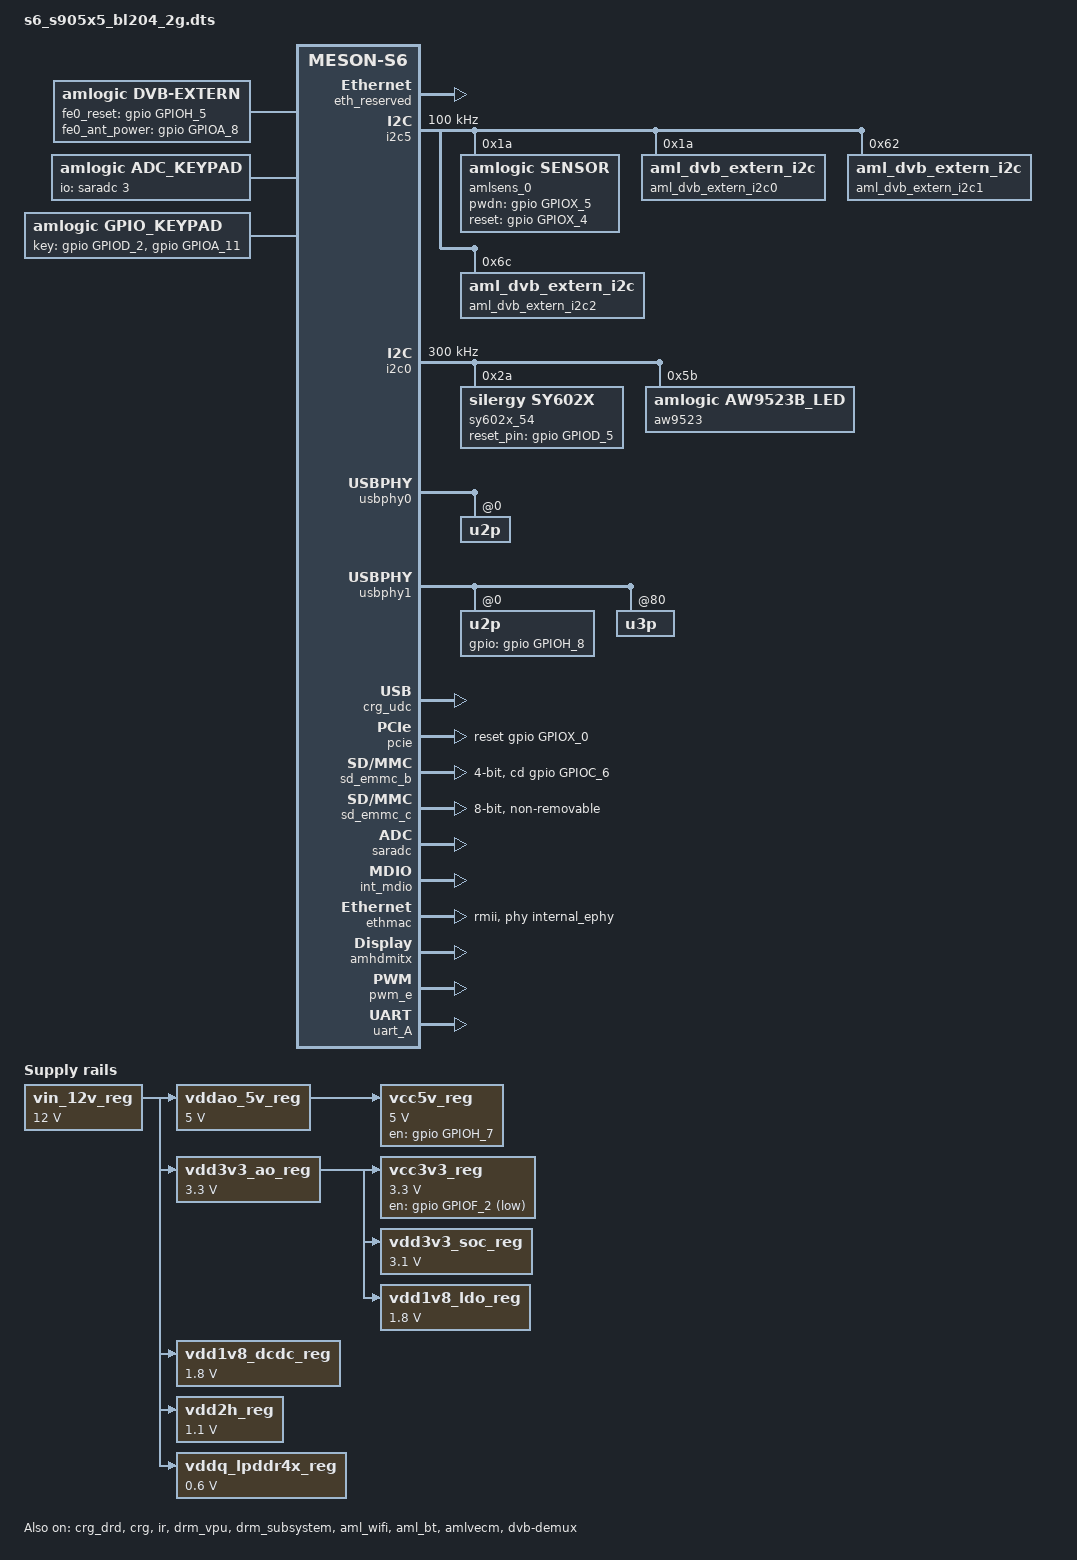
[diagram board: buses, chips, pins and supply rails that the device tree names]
// SPDX-License-Identifier: (GPL-2.0+ OR MIT)
/*
 * Copyright (c) 2019 Amlogic, Inc. All rights reserved.
 */

/dts-v1/;

#include "meson-s6.dtsi"
#include "hdr10plus.dtsi"
#include "mesons6_drm.dtsi"
#include "mesons6_audio.dtsi"
#include "firmware_ab.dtsi"
/ {
	amlogic-dt-id = "s6_s905x5_bl204-2g";
	compatible = "s6_s905x5_bl204-2g";
	interrupt-parent = <&gic>;
	#address-cells = <2>;
	#size-cells = <2>;

	aliases {
		serial0 = &uart_B;
		serial1 = &uart_A;
		serial2 = &uart_C;
		i2c0 = &i2c0;
		i2c1 = &i2c1;
		i2c2 = &i2c2;
		i2c3 = &i2c3;
		i2c4 = &i2c4;
		i2c5 = &i2c5;
		spi0 = &spifc;
		spi1 = &spicc0;
		tsensor0 = &p_tsensor;
		tsensor1 = &c_tsensor;
	};

	memory@0 {
		device_type = "memory";
		linux,usable-memory = <0x0 0x0 0x0 0x80000000>;
	};

	reserved-memory {
		#address-cells = <2>;
		#size-cells = <2>;
		ranges;

		ramdump_bl33z@0 {
			reg = <0x0 0x0 0x0 0x1800000>; /* 0 ~ 24M */
			status = "disabled";
		};

		/* global autoconfigured region for contiguous allocations */
		ramoops@6b00000 {
			compatible = "ramoops";
			reg = <0x0 0x06b00000 0x0 0x00080000>;/* addr set in uboot */
			record-size = <0x30000>;
			console-size = <0x40000>;
			ftrace-size = <0x0>;
			pmsg-size = <0x10000>;
		};

		debug_reserved:linux,iotrace {
			compatible = "amlogic, iotrace";
			reg = <0x0 0x04f00000 0x0 0x00100000>;
			io-size = <0x1b000>;
			sched-size = <0x2000>;
			irq-size = <0x1000>;
			smc-size = <0x1000>;
			misc-size = <0x1000>;
		};

		dmc_reserved:linux,dmc_monitor {
			compatible = "amlogic,dmc_monitor-reserved";
			reg = <0x0 0x0 0x0 0x80000>;
		};

		secmon_reserved:linux,secmon {
			compatible = "shared-dma-pool";
			/*reusable;*/
			no-map;
			alignment = <0x0 0x100000>;
			reg = <0x0 0x05000000 0x0 0x1b00000>;
		};

		logo_reserved:linux,meson-fb {
			compatible = "amlogic, meson-fb";
			alignment = <0x0 0x400000>;
			reg = <0x0 0x7f800000 0x0 0x800000>;
		};

		dsp_fw_reserved:linux,dsp_fw {
			compatible = "amlogic, dsp";
			size = <0x0 0x800000>;
			reg = <0x0 0x30000000 0x0 0x800000>;
		};

		ion_cma_reserved:linux,ion-dev {
			compatible = "shared-dma-pool";
			reusable;
			size = <0x0>;
			alignment = <0x0 0x400000>;
		};
		ion_fb_reserved:linux,ion-fb {
			compatible = "shared-dma-pool";
			reusable;
			size = <0x0 0x0>;
			alignment = <0x0 0x400000>;
		};
		dmaheap_cma_reserved:heap-gfx {
			compatible = "shared-dma-pool";
			reusable;
			/* 1080p STB android16 size 88M */
			size = <0x0 0x5800000>;
			alignment = <0x0 0x400000>;
		};
		dmaheap_fb_reserved:heap-fb {
			compatible = "shared-dma-pool";
			reusable;
			/* 1080p STB android16 size 56M */
			size = <0x0 0x3800000>;
			alignment = <0x0 0x400000>;
		};
		dmaheap_secure_reserved:heap-secure {
			compatible = "amlogic, heap-secure-mem";
			no-map;
			/* advice heap-secure size 208M */
			size = <0x0 0x0>;
			alignment = <0x0 0x400000>;
		};
		mali_protected: mali_protected@c0000000 {
			compatible = "mali-reserved";
			no-map;
			/* 16M with high version than valhall-r41p0,
			 * 64M with low version than valhall-r41p0
			 */
			size = <0x0 0x0>;
			alignment = <0x0 0x400000>;
		};
		/*di CMA pool */
		di_cma_reserved:linux,di_cma {
			compatible = "shared-dma-pool";
			reusable;
			/* buffer_size = 3621952(yuv422 8bit)
			 *  | 4736064(yuv422 10bit)
			 *  | 4074560(yuv422 10bit full pack mode)
			 * 10x3621952=34.6M(0x23) support 8bit
			 * 10x4736064=45.2M(0x2e) support 12bit
			 * 10x4074560=40M(0x28) support 10bit
			 */
			//size = <0x0 0x0B000000>;
			//size = <0x0 0x0>;
			alignment = <0x0 0x400000>;
		};

		/*  POST PROCESS MANAGER */
		ppmgr_reserved:linux,ppmgr {
			compatible = "shared-dma-pool";
			size = <0x0 0x0>;
		};

		codec_mm_cma:linux,codec_mm_cma {
			compatible = "shared-dma-pool";
			reusable;
			/*
			 * Scenario: CTS P010 case
			 * Total size: 548M
			 * Note:
			 *  setting to 496M if scatter_alloc_mode is 0.
			 *  setting to 444M if scatter_alloc_mode is 1.
			 */
			size = <0x0 0x1bc00000>;
			alignment = <0x0 0x400000>;
			linux,contiguous-region;
		};

		/* codec shared reserved */
		codec_mm_reserved:linux,codec_mm_reserved {
			compatible = "amlogic, codec-mm-reserved";
			size = <0x0 0x0>;
			alignment = <0x0 0x100000>;
			//no-map;
		};

		codec_mm_reserved_ext:linux,codec_mm_reserved_ext {
			compatible = "amlogic, codec-mm-reserved_ext";
			size = <0x00000000 0x00000000>;
			alignment = <0x0 0x100000>;
		};

		secure_vdec_reserved:linux,secure_vdec_reserved {
			compatible = "amlogic, secure-vdec-reserved";
			no-map;
			size = <0x0 0x1000000>;
			alignment = <0x0 0x100000>;
		};

		/*  vdin0 CMA pool */
		//vdin0_cma_reserved:linux,vdin0_cma {
		//	compatible = "shared-dma-pool";
		//	reusable;
			/* up to 1920x1080 yuv422 8bit and 5 buffers
			 * 1920x1080x2x5 = 20 M
			 */
		//	size = <0x0 0x01400000>;
		//	alignment = <0x0 0x400000>;
		//};
		/*  vdin1 CMA pool */
		vdin1_cma_reserved:linux,vdin1_cma {
			compatible = "shared-dma-pool";
			reusable;
			/* up to 720p yuv420 8bit and 4 buffers
			 * 1280x720x1.5x4 = 8 M
			 */
			size = <0x0 0x00800000>;
			alignment = <0x0 0x400000>;
		};
		/* global autoconfigured region for contiguous allocations */
		linux,cma {
			compatible = "shared-dma-pool";
			reusable;
			size = <0x0 0x800000>;
			alignment = <0x0 0x400000>;
			linux,cma-default;
		};

		pcie_dma_ops_mm:linux,pcie_dma_ops {
			compatible = "shared-dma-pool";
			status = "okay";
			reusable;
			size = <0x0 0x2000000>;
			swiotlb-size = <0x0 0x1c00000>;
			atomic-size = <0x0 0x40000>;
			alignment = <0x0 0x400000>;
		};

		eth_reserved:linux,eth {
			compatible = "shared-dma-pool";
			no-map;
			reg = <0x0 0x14000000 0x0 0x2400>;	/* 9 KBytes */
		};
	};

/* Audio Related start */
	auge_sound {
		compatible = "amlogic, auge-sound-card";
		//spk_mute-gpios = <&gpio GPIOH_5 GPIO_ACTIVE_LOW>;
		/*gpio high is enable spk,control by "SPK mute"*/
		aml-audio-card,name = "AML-AUGESOUND";
		aml-audio-card,dai-link@0 {
			format = "dsp_b";
			mclk-fs = <512>;
			//continuous-clock;
			//bitclock-inversion;
			//frame-inversion;
			/* master mode */
			bitclock-master = <&tdma>;
			frame-master = <&tdma>;
			/* slave mode */
			/*
			 * bitclock-master = <&tdmacodec>;
			 * frame-master = <&tdmacodec>;
			 */
			suffix-name = "alsaPORT-pcm";
			tdmacpu: cpu {
				sound-dai = <&tdma>;
				dai-tdm-slot-tx-mask =
							<1>;
				dai-tdm-slot-rx-mask =
							<1>;
				dai-tdm-slot-num = <2>;
				dai-tdm-slot-width = <16>;
				system-clock-frequency = <256000>;
			};
			tdmacodec: codec {
				sound-dai = <&dummy_codec>;
			};
		};

		aml-audio-card,dai-link@1 {
			format = "i2s";//"dsp_a";
			mclk-fs = <256>;
			continuous-clock;
			//bitclock-inversion;
			//frame-inversion;
			/* master mode */
			bitclock-master = <&tdmb>;
			frame-master = <&tdmb>;
			/* slave mode */
			//bitclock-master = <&tdmbcodec>;
			//frame-master = <&tdmbcodec>;
			/* suffix-name, sync with android audio hal
			 * what's the dai link used for
			 */
			suffix-name = "alsaPORT-i2s2hdmi";
			cpu {
				sound-dai = <&tdmb>;
				dai-tdm-slot-tx-mask = <1 1>;
				dai-tdm-slot-rx-mask = <1 1>;
				dai-tdm-slot-num = <2>;
				/*
				 * dai-tdm-slot-tx-mask =
				 *	<1 1 1 1 1 1 1 1>;
				 * dai-tdm-slot-rx-mask =
				 *	<1 1 1 1 1 1 1 1>;
				 * dai-tdm-slot-num = <8>;
				 */
				dai-tdm-slot-width = <32>;
				system-clock-frequency = <12288000>;
			};
			tdmbcodec: codec {
				sound-dai = <&dummy_codec>;
			};
		};

		aml-audio-card,dai-link@2 {
			format = "i2s";
			mclk-fs = <256>;
			//continuous-clock;
			//bitclock-inversion;
			//frame-inversion;
			/* master mode */
			bitclock-master = <&tdmc>;
			frame-master = <&tdmc>;
			/* slave mode */
			//bitclock-master = <&tdmccodec>;
			//frame-master = <&tdmccodec>;
			/* suffix-name, sync with android audio hal used for */
			suffix-name = "alsaPORT-i2s";
			cpu {
				sound-dai = <&tdmc>;
				dai-tdm-slot-tx-mask = <1 1>;
				dai-tdm-slot-rx-mask = <1 1>;
				dai-tdm-slot-num = <2>;
				dai-tdm-slot-width = <32>;
				system-clock-frequency = <12288000>;
			};
			tdmccodec: codec {
				prefix-names = "AMP";
				sound-dai = <&sy602x_54>;
			};
		};

		aml-audio-card,dai-link@3 {
			mclk-fs = <64>;
			/* suffix-name, sync with android audio hal
			 * what's the dai link used for
			 */
			suffix-name = "alsaPORT-pdm-builtinmic";
			cpu {
				sound-dai = <&pdma>;
			};
			codec {
				sound-dai = <&dummy_codec>;
			};
		};

		aml-audio-card,dai-link@4 {
			mclk-fs = <128>;
			continuous-clock;
			/* suffix-name, sync with android audio hal used for */
			suffix-name = "alsaPORT-spdif";
			cpu {
				sound-dai = <&spdifa>;
				system-clock-frequency = <6144000>;
			};
			codec {
				sound-dai = <&dummy_codec>;
			};
		};
		/* spdif_b to hdmi, only playback */
		aml-audio-card,dai-link@5 {
			mclk-fs = <128>;
			continuous-clock;
			/* suffix-name, sync with android audio hal
			 * what's the dai link used for
			 */
			suffix-name = "alsaPORT-spdifb";
			cpu {
				sound-dai = <&spdifb>;
				system-clock-frequency = <6144000>;
			};
			codec {
				sound-dai = <&dummy_codec>;
			};
		};

		aml-audio-card,dai-link@6 {
			mclk-fs = <256>;
			continuous-clock;
			suffix-name = "alsaPORT-loopback";
			cpu {
				sound-dai = <&loopbacka>;
				system-clock-frequency = <12288000>;
			};
			codec {
				sound-dai = <&dummy_codec>;
			};
		};

		/* aml-audio-card,dai-link@7 {
		 *	mclk-fs = <256>;
		 *	suffix-name = "alsaPORT-earc";
		 *	cpu {
		 *		sound-dai = <&earc>;
		 *		system-clock-frequency = <12288000>;
		 *	};
		 *	codec {
		 *		sound-dai = <&dummy_codec>;
		 *	};
		 *};
		 */
	};

	dvb-extern {
		compatible = "amlogic, dvb-extern";
		dev_name = "dvb-extern";
		status = "okay";

		//dvb hardware main power.
		//dvb_power_gpio = <&gpio GPIOZ_5 GPIO_ACTIVE_HIGH>;
		//dvb_power_value = <0>;
		//dvb_power_dir = <0>; //0: out, 1: in.

		fe_num = <2>;
		fe0_demod = "cxd2856";
		fe0_i2c_adap_id = <&i2c5>;
		fe0_demod_i2c_addr = <0xD8>;
		fe0_reset_value = <0>;
		fe0_reset_gpio = <&gpio GPIOH_5 GPIO_ACTIVE_HIGH>;
		fe0_reset_dir = <0>; //0: out, 1: in.
		fe0_ant_poweron_value = <1>;
		fe0_ant_power_gpio = <&gpio GPIOA_8 GPIO_ACTIVE_HIGH>;
		fe0_ts = <0>;
		fe0_ts_out_mode = <0>; //0: serial, 1: parallel.
		fe0_tuner0 = <0>; //T,C
		fe0_tuner1 = <1>; //S

		fe1_demod = "dummy";
		fe1_ts = <3>;

		tuner_num = <2>; //tuner number, multi tuner support
		tuner0_name = "r836_tuner";
		tuner0_i2c_addr = <0x1A>; //7bit
		tuner1_name = "av2018_tuner";
		tuner1_i2c_addr = <0xC4>; //8bit
	};

	dvb-demux {
		compatible = "amlogic sc2, dvb-demux";
		dev_name = "dvb-demux";
		status = "okay";

		reg = <0x0 0xfe000000 0x0 0x480000>;

		dmxdev_num = <0x11>;

		tsn_from = "demod";

		/*single demod setting */
		ts0_sid = <0x10>;
		ts0 = "serial-4wire"; /* tsinA: serial-4wire, serial-3wire */
		ts0_control = <0x0>;
		ts0_invert = <0>;

		ts1_sid = <0x11>;
		ts1 = "parallel";
		ts1_control = <0x0>;
		ts1_invert = <0>;

		ts2_sid = <0x12>;
		ts2 = "parallel";
		ts2_control = <0x0>;
		ts2_invert = <0>;

		ts3_sid = <0x7>;

		pinctrl-names = "s_ts0";
		pinctrl-0 = <&dvb_s_ts0_pins>;
	};

	multi-di {
		compatible = "amlogic, dim-s7d";
		/* s6 same as s7d */
		status = "okay";
		/* 0:use reserved; 1:use cma; 2:use cma as reserved */
		flag_cma = <4>;	//<1>;
		//memory-region = <&di_reserved>;
		//memory-region = <&di_cma_reserved>;
		interrupts = <0 203 4
				0 202 4>;
		interrupt-names = "pre_irq", "post_irq";
		clocks = <&clkc CLKID_VPU_CLKB>,
			<&clkc CLKID_VPU>;
		clock-names = "vpu_clkb",
			"vpu_mux";
		clock-range = <334 667>;
		/* buffer-size = <3621952>;(yuv422 8bit) */
		buffer-size = <4074560>;/*yuv422 fullpack*/
		/* reserve-iomap = "true"; */
		/* if enable nr10bit, set nr10bit-support to 1 */
		post-wr-support = <1>;
		nr10bit-support = <1>;
		nrds-enable = <1>;
		pps-enable = <1>;
		post_nub = <10>;
	};

	aml_dtv_demod {
		compatible = "amlogic, ddemod-s4";
		dev_name = "aml_dtv_demod";
		status = "disabled";
		/* diseqc_name = "sgm_41286"; */
		pinctrl-names="if_agc_pins", "if_agc2_pins";
		pinctrl-0=<&dtvdemod_if_agc_pins>;
		pinctrl-1=<&dtvdemod_if_agc2_pins>;
		/* pinctrl-2=<&diseqc_out>; */
		/* lnb_en-gpios = <&gpio GPIOZ_2 GPIO_ACTIVE_HIGH>; */
		/* lnb_sel-gpios = <&gpio GPIOZ_3 GPIO_ACTIVE_HIGH>; */
		/* interrupts = <GIC_SPI 142 IRQ_TYPE_EDGE_RISING>; */
		/* interrupt-names = "demod_isr"; */

		//power-domains = <&pwrdm PDID_S4_DEMOD>;
		/* clocks = <&clkc CLKID_DAC_CLK>; */
		/* clock-names = "vdac_clk_gate"; */

		reg = <0x0 0xfe350000 0x0 0x10000	/* dtv demod base */
			   0x0 0xfe000000 0x0 0x2000	/* div base */
			   0x0 0xff800000 0x0 0x1000	/* io_aobus_base */
			   0x0 0xffd01000 0x0 0x1000	/* reset */
			>;

		spectrum = <1>;
		cma_mem_size = <0>; //MB
	};
	adc_keypad {
		compatible = "amlogic, adc_keypad";
		status = "okay";
		key_name = "vol-", "vol+", "power";
		key_num = <3>;
		io-channels = <&saradc 3>;
		io-channel-names = "key-chan-3";
		key_chan = <SARADC_CH3 SARADC_CH3 SARADC_CH3>;
		key_code = <KEY_VOLUMEDOWN KEY_VOLUMEUP KEY_POWER>;
		key_val = <1600 1050 50>;	/* Unit: millivolt */
		key_tolerance = <70 70 70>;	/* Unit: millivolt */
	};

	gpio_keypad {
		compatible = "amlogic, gpio_keypad";
		status = "okay";
		scan_period = <20>;
		key_num = <2>;
		key_name = "bluetooth", "mute";
		key_code = <600 SW_MUTE_DEVICE>;
		key_type = <EV_KEY EV_SW>;
		key-gpios = <&gpio GPIOD_2 GPIO_ACTIVE_HIGH
			     &gpio GPIOA_11 GPIO_ACTIVE_HIGH>;
		/* 0:polling mode, 1:irq mode */
		detect_mode = <0>;
	};

	vin_12v_reg: fixed@vin_12v_reg {
		compatible = "regulator-fixed";
		regulator-name = "DC_IN";
		regulator-min-microvolt = <12000000>;
		regulator-max-microvolt = <12000000>;
		regulator-boot-on;
		regulator-always-on;
	};

	vddao_5v_reg: fixed@vddao_5v_reg {
		vin-supply = <&vin_12v_reg>;
		compatible = "regulator-fixed";
		regulator-name = "VDDAO_5V";
		regulator-min-microvolt = <5000000>;
		regulator-max-microvolt = <5000000>;
		regulator-boot-on;
		regulator-always-on;
	};

	vdd3v3_ao_reg: fixed@vdd3v3_ao_reg {
		vin-supply = <&vin_12v_reg>;
		compatible = "regulator-fixed";
		regulator-name = "VDDAO_3.3V";
		regulator-min-microvolt = <3300000>;
		regulator-max-microvolt = <3300000>;
		regulator-boot-on;
		regulator-always-on;
	};

	vdd1v8_dcdc_reg: fixed@vdd1v8_dcdc_reg {
		compatible = "regulator-fixed";
		vin-supply = <&vin_12v_reg>;
		regulator-name = "VDD1V8_DCDC";
		regulator-min-microvolt = <1800000>;
		regulator-max-microvolt = <1800000>;
		regulator-boot-on;
		regulator-always-on;
	};

	vdd2h_reg: fixed@vdd2h_reg {
		vin-supply = <&vin_12v_reg>;
		compatible = "regulator-fixed";
		regulator-name = "VDD2H";
		regulator-min-microvolt = <1100000>;
		regulator-max-microvolt = <1100000>;
		regulator-boot-on;
		regulator-always-on;
	};

	vddq_lpddr4x_reg: fixed@vddq_lpddr4x_reg {
		compatible = "regulator-fixed";
		vin-supply = <&vin_12v_reg>;
		regulator-name = "VDDQ_LPDDR4X";
		regulator-min-microvolt = <600000>;
		regulator-max-microvolt = <600000>;
		regulator-boot-on;
		regulator-always-on;
	};

	vcc5v_reg: fixed@vcc5v_reg {
		vin-supply = <&vddao_5v_reg>;
		compatible = "regulator-fixed";
		regulator-name = "VCC5V";
		regulator-min-microvolt = <5000000>;
		regulator-max-microvolt = <5000000>;
		pinctrl-names = "default";
		// GPIOH_7(Down) Output H/L= Enable/Disable VCC5V
		gpio = <&gpio GPIOH_7 GPIO_ACTIVE_HIGH>;
		enable-active-high;
		startup-delay-us = <7000>;
		regulator-boot-on;
		regulator-always-on;
	};

	vcc3v3_reg: fixed@vcc3v3_reg {
		vin-supply = <&vdd3v3_ao_reg>;
		compatible = "regulator-fixed";
		regulator-name = "VCC3V3";
		regulator-min-microvolt = <3300000>;
		regulator-max-microvolt = <3300000>;
		pinctrl-names = "default";
		// GPIOF_2(Down) Output L/H= Enable/Disable VCC3V3
		gpio = <&gpio GPIOF_2 GPIO_ACTIVE_HIGH>;
		startup-delay-us = <7000>;
		regulator-boot-on;
		regulator-always-on;
	};

	vdd3v3_soc_reg: fixed@vdd3v3_soc_reg {
		vin-supply = <&vdd3v3_ao_reg>;
		compatible = "regulator-fixed";
		regulator-name = "VDDIO_SOC";
		regulator-min-microvolt = <3100000>;
		regulator-max-microvolt = <3100000>;
		regulator-boot-on;
		regulator-always-on;
	};

	vdd1v8_ldo_reg: fixed@vdd1v8_ldo_reg {
		compatible = "regulator-fixed";
		vin-supply = <&vdd3v3_ao_reg>;
		regulator-name = "VDD1V8_LDO";
		regulator-min-microvolt = <1800000>;
		regulator-max-microvolt = <1800000>;
		regulator-boot-on;
		regulator-always-on;
	};
};

&i2c3 {
	status = "disabled";
	pinctrl-names="default";
	pinctrl-0=<&i2c3_pins2>;
	clock-frequency = <300000>;
};

&i2c4 {
	status = "disabled";
	pinctrl-names="default";
	pinctrl-0=<&i2c4_pins3>;
	clock-frequency = <300000>;
};

&i2c5 {
	status = "okay";
	pinctrl-names="default";
	pinctrl-0=<&i2c5_pins3>;
	clock-frequency = <100000>;

	amlsens_0: sensor0@1a {
		compatible = "amlogic, sensor";
		index = <1>;
		reg = <0x1a>;
		reg-addr-type = <2>;
		reg-data-type = <1>;

		// using cm_mclk_0 24M
		clocks = <&clkc CLKID_MCLK0>;
		clock-names = "mclk0";

		pwdn-gpios = <&gpio GPIOX_5 GPIO_ACTIVE_HIGH>;
		reset-gpios = <&gpio GPIOX_4 GPIO_ACTIVE_HIGH>;

		port {
			amlsens_0_ep: endpoint {
				data-lanes = <0 1 2 3>;
				link-frequencies = /bits/ 64 <222750000>;
			};
		};
	};
	aml_dvb_extern_i2c0: aml_dvb_extern_i2c@1a {
		compatible = "aml_dvb_extern_i2c";
		dev_name = "r836";
		reg = <0x1a>;
		status = "okay";
	};
	aml_dvb_extern_i2c1: aml_dvb_extern_i2c@62 {
		compatible = "aml_dvb_extern_i2c";
		dev_name = "av2018";
		reg = <0x62>;
		status = "okay";
	};
	aml_dvb_extern_i2c2: aml_dvb_extern_i2c@6c {
		compatible = "aml_dvb_extern_i2c";
		dev_name = "cxd2856";
		reg = <0x6c>;
		status = "okay";
	};
};

&i2c0 {
	status = "okay";
	pinctrl-names="default";
	pinctrl-0=<&i2c0_pins4>;
	clock-frequency = <300000>; /* default 100k */
	sy602x_54: sy602x_54@2a {
		compatible = "silergy,sy602x";
		#sound-dai-cells = <0>;
		reg = <0x2a>;
		status = "okay";
		reset_pin-gpios = <&gpio GPIOD_5 GPIO_ACTIVE_HIGH>;
	};
	aw9523: aw9523_led@5b {
		compatible = "amlogic,aw9523b_led";
		reg = <0x5b>;
		status = "okay";
		//reset-gpio = <&gpio GPIOD_10 GPIO_ACTIVE_HIGH>;
		platform = <10>;

		led1 {
			default_colors = <0 0 0>;
			r_io_number = <2>;
			g_io_number = <12>;
			b_io_number = <7>;
		};

		led2 {
			default_colors = <0 0 0>;
			r_io_number = <4>;
			g_io_number = <10>;
			b_io_number = <9>;
		};

		led3 {
			default_colors = <0 0 0>;
			r_io_number = <3>;
			g_io_number = <11>;
			b_io_number = <8>;
		};

		led4 {
			default_colors = <0 0 0>;
			r_io_number = <0>;
			g_io_number = <14>;
			b_io_number = <5>;
		};
		led9 {
			default_colors = <0 0 0>;
			r_io_number = <1>;
			g_io_number = <13>;
			b_io_number = <6>;
		};
	};
};

&vddcpu0_board2 {
	status = "okay";
};

&CPU0 {
	operating-points-v2 = <&cpu_opp_table0>,
						<&cpu_opp_table1_2400>,
						<&cpu_opp_table2_2400>,
						<&cpu_opp_table3_2400>;
};

&tdma {
	pinctrl-names = "tdm_pins";
	pinctrl-0 = <&bt_pcm_gpio_x_pins
		&tdm_d1_pins
		&tdm_d0_pins
		&tdma_clk_pins>;
};

&tdmc {
	pinctrl-names = "tdm_pins";
	pinctrl-0 = <&i2s_gpio_d_pins_1
		&tdm_d3_pins
		&tdmc_clk_pins>;
};

&spdifa {
		pinctrl-names = "spdif_pins", "spdif_pins_mute";
		pinctrl-0 = <&spdif_out_a_h4_pins>;
		pinctrl-1 = <&spdif_out_a_h4_mute_pins>;
};

&periphs_pinctrl {
	dvb_s_ts0_pins: dvb_s_ts0_pins {
		tsin_a {
			groups = "tsin_a_sop_z",
				"tsin_a_valid_z",
				"tsin_a_clk_z",
				"tsin_a_din0_z";
			function = "tsin_a";
		};
	};
}; /* end of periphs_pinctrl */

&usbphy0 {
	status = "okay";
	u2p@0 {
		status = "okay";
		controller-type = <1>; /* 0~3: normal, host, device, otg */
	};
};

&usbphy1 {
	status = "okay";
	u2p@0 {
		status = "okay";
		/* otg & 3.0 share the vbus power.*/
		gpio-vbus-power = "GPIOH_8";
		gpios = <&gpio GPIOH_8 (GPIO_ACTIVE_HIGH|GPIO_OPEN_DRAIN)>;
	};

	u3p@80 {
		status = "okay";
	};
};

&crg_drd {
	status = "okay";
};

&crg_udc {
	status = "okay";
};

&crg {
	status = "okay";
};

&pcie {
	reset-gpio = <&gpio GPIOX_0 GPIO_ACTIVE_HIGH>;
	max-link-speed=<1>;
	iommu-map = <0x100 &smmu 0x5 0x10>;
	status = "okay";
};

/* SDIO */
&sd_emmc_a {
	status = "disabled";
	pinctrl-0 = <&sdio_pins>;
	pinctrl-1 = <&sdio_clk_gate_pins>;
	pinctrl-names = "default", "clk-gate";
	#address-cells = <1>;
	#size-cells = <0>;

	bus-width = <4>;
	cap-sd-highspeed;
	sd-uhs-sdr50;
	sd-uhs-sdr104;
	max-frequency = <200000000>;

	non-removable;
	disable-wp;

	//vmmc-supply = <&vddao_3v3>;
	//vqmmc-supply = <&vddio_ao1v8>;

	brcmf: wifi@1 {
		reg = <1>;
		compatible = "brcm,bcm4329-fmac";
	};
};

/* SD card */
&sd_emmc_b {
	status = "okay";
	pinctrl-0 = <&sdcard_pins>;
	pinctrl-1 = <&sdcard_clk_gate_pins>;
	pinctrl-2 = <&sd_1bit_pins>;
	//pinctrl-3 = <&sd_to_ao_uart_clr_pins
	//	&sdcard_pins &ao_to_sd_uart_pins>;
	//pinctrl-4 = <&sd_to_ao_uart_clr_pins
	//	&sd_1bit_pins &ao_to_sd_uart_pins>;
	//pinctrl-5 = <&sdcard_pins &ao_uart_pins>;
	//pinctrl-6 = <&sd_to_ao_uart_clr_pins
	//	&ao_to_sd_uart_pins>;
	//pinctrl-7 = <&sdcard_pins &ao_uart_pins>;
	//pinctrl-8 = <&sd_to_ao_uart_clr_pins
	//	&ao_to_sd_uart_pins>;
	pinctrl-names = "sd_default",
			"clk-gate",
			"sd_1bit_pins";
	//		"sd_clk_cmd_uart_pins",
	//		"sd_1bit_uart_pins",
	//		"sd_to_ao_uart_pins",
	//		"ao_to_sd_uart_pins",
	//		"sd_to_ao_jtag_pins",
	//		"ao_to_sd_jtag_pins";
	bus-width = <4>;
	cap-sd-highspeed;
//	sd-uhs-sdr12;
//	sd-uhs-sdr25;
//	sd-uhs-sdr50;
//	sd-uhs-sdr104;
	max-frequency = <200000000>;
	disable-wp;

	cd-gpios = <&gpio GPIOC_6 GPIO_ACTIVE_HIGH>;
	//dat1-gpios = <&gpio GPIOC_1 GPIO_ACTIVE_HIGH>;
	//vmmc-supply = <&vddao_3v3>;
	//vqmmc-supply = <&emmc_1v8>;
};

&sd_emmc_c {
	status = "okay";
	pinctrl-0 = <&emmc_pins>, <&emmc_ds_pins>;
	pinctrl-1 = <&emmc_clk_gate_pins>;
	pinctrl-names = "default", "clk-gate";

	bus-width = <8>;
	cap-mmc-highspeed;
//	mmc-ddr-1_8v;
	mmc-hs200-1_8v;
	mmc-hs400-1_8v;
	max-frequency = <200000000>;
	non-removable;
	disable-wp;

//	mmc-pwrseq = <&emmc_pwrseq>;
//	vmmc-supply = <&vddao_3v3>;
//	vqmmc-supply = <&vddao_1v8>;
};

&mtd_nand {
	status = "disabled";
	#address-cells = <1>;
	#size-cells = <0>;

	pinctrl-names = "nand_norb_mod","nand_cs_only";
	pinctrl-0 = <&all_nand_pins>;
	pinctrl-1 = <&nand_cs_pins>;
	bl_mode = <2>;
	fip_copies = <4>;
	fip_size = <0x200000>;
	ship_bad_block = <1>;
	disa_irq_flag = <1>;
	nand@0 {
		reg = <0>;
		#address-cells = <1>;
		#size-cells = <1>;
		nand-ecc-maximize;

		partitions {
			#address-cells = <1>;
			#size-cells = <1>;

			partition@0 {
				label = "bootloader";
				reg = <0x0 0x00000000>;
			};
			partition@1 {
				label = "bl2e";
				reg = <0x0 0x00000000>;
			};
			partition@2 {
				label = "bl2x";
				reg = <0x0 0x00000000>;
			};
			partition@3 {
				label = "ddrfip";
				reg = <0x0 0x00000000>;
			};
			partition@4 {
				label = "tpl";
				reg = <0x0 0x00000000>;
			};
			partition@5 {
				/* Do not modify before the factory partition */
				label = "factory";
				reg = <0x0 0x0800000>;
			};
			partition@6 {
				label = "tee";
				reg = <0x0 0x800000>;
			};
			partition@7 {
				label = "logo";
				reg = <0x0 0x200000>;
			};
			partition@8 {
				label = "misc";
				reg = <0x0 0x800000>;
			};
			partition@9 {
				label = "recovery";
				reg = <0x0 0x2000000>;
			};
			partition@10 {
				label = "boot";
				reg = <0x0 0x2200000>;
			};
			partition@11 {
				label = "system";
				reg = <0x0 0xE000000>;
			};
			partition@12 {
				label = "vendor";
				reg = <0x0 0x1000000>;
			};
			partition@13 {
				label = "vbmeta";
				reg = <0x0 0x0100000>;
			};
			partition@14 {
				label = "data";
				reg = <0x0 0xffffffff>;
			};
		};
	};
};

&chosen {
	bootargs = "usbcore.autosuspend=-1 swiotlb=noforce arm64.nomte";
};

&saradc {
	status = "okay";
};

/*exphy setting*/
//&ext_mdio {
//	status = "okay";
//};
//&ethmac {
//	pinctrl-0 = <&eth_pins>, <&eth_rgmii_pins>;
//	pinctrl-names = "default";
//	status = "okay";
//	phy-mode = "rgmii";
//	phy-handle = <&external_phy>;
//	amlogic,tx-delay-ns = <2>;
//	internal_phy = <2>;
//	cali_val = <0x290000>;
//	wol = <1>;
//	mdns_wkup = <1>;
//};

/*inphy setting*/
&int_mdio {
	status = "okay";
};

&ethmac {
	status = "okay";
	phy-handle = <&internal_ephy>;
	phy-mode = "rmii";
	internal_phy = <1>;
	amlogic,wol-enable;
};

&ir {
	status = "okay";
	pinctrl-0 = <&remote_pins>;
	pinctrl-names = "default";
};

&spicc0 {
	status = "disabled";
	pinctrl-names = "default";
	pinctrl-0 = <&spicc0_pins_x>;
};

&spifc {
	status = "disabled";
	spi-nor@0 {
		status = "disabled";
	};
};

&fb {
	status = "disabled";
	display_size_default = <1920 1080 1920 2160 32>;
	mem_size = <0x00800000 0x1980000 0x100000 0x100000>;
	logo_addr = "0x7f800000";
	mem_alloc = <0>;
	pxp_mode = <0>; /** 0:normal mode 1:pxp mode */
};

&drm_vpu {
	status = "okay";
	logo_addr = "0x7f800000";

};

&drm_subsystem {
	status = "okay";
	fbdev_sizes = <1280 720 1280 1440 32>;
};

&amhdmitx {
	status = "okay";
};

&drm_amhdmitx {
	status = "disabled";
	hdcp = "disabled";
};

&drm_amcvbsout {
	status = "disabled";
};

/*if you want to use vdin just modify status to "ok"*/
&vdin0 {
	/*compatible = "amlogic, vdin-s6";*/
	/*memory-region = <&vdin0_cma_reserved>;*/
	/*status = "disabled";*/
	/* up to 1920x1080 yuv422 8bit and 5 buffers
	 * 1920x1080x2x5 = 20 M
	 */
	cma_size = <20>;
	/*vdin write mem color depth support:
	 *bit0:support 8bit
	 *bit1:support 9bit
	 *bit2:support 10bit
	 *bit3:support 12bit
	 *bit4:support yuv422 10bit full pack mode (from txl new add)
	 */
	tv_bit_mode = <0x1>;
};

&vdin1 {
	/*compatible = "amlogic, vdin-s6";*/
	memory-region = <&vdin1_cma_reserved>;
	frame_buff_num = <4>;
	/*status = "disabled";*/
	/*vdin write mem color depth support:
	 *bit0:support 8bit
	 *bit1:support 9bit
	 *bit2:support 10bit
	 *bit3:support 12bit
	 */
	tv_bit_mode = <1>;
};

&aml_wifi{
	status = "okay";
	interrupt-gpios = <&gpio  GPIOX_7  GPIO_ACTIVE_HIGH>;
	power_on-gpios = <&gpio   GPIOX_6  GPIO_ACTIVE_HIGH>;
};

&aml_bt {
	status = "okay";
	reset-gpios = <&gpio    GPIOX_17 GPIO_ACTIVE_HIGH>;
	btwakeup-gpios = <&gpio    GPIOX_18 GPIO_ACTIVE_HIGH>;
	hostwake-gpios = <&gpio GPIOX_19 GPIO_ACTIVE_HIGH>;
};

&pwm_e {
	pinctrl-0 = <&pwm_e_pins1>;
	pinctrl-names = "default";
	status = "okay";
};

&uart_A {
	status = "okay";
	uart-has-rtscts;
};

&amlogic_codec {
	tocodec_inout = <1>;
	tdmout_index = <1>;
};

&pdma {
		pinctrl-names = "pdm_pins";
		pinctrl-0 = <&pdmin>;
};

&amlvecm {
	compatible = "amlogic, vecm-s6";
	dev_name = "aml_vecm";
	status = "okay";
	gamma_en = <0>;/*1:enable ;0:disable*/
	wb_en = <0>;/*1:enable ;0:disable*/
	/*0: 709/601  1: bt2020*/
	tx_op_color_primary = <0>;
};
